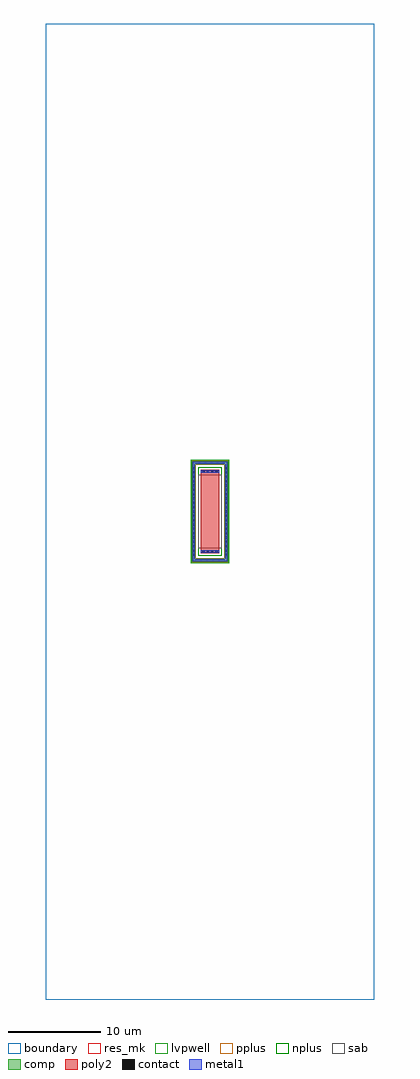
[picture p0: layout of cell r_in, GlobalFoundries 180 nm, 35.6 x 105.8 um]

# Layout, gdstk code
import gdstk
lib = gdstk.Library(unit=1e-6, precision=1e-09)
def R(c, l, rs):  # rectangles x0, y0, x1, y1
    for r in rs: c.add(gdstk.rectangle(r[:2], r[2:], *l))
def A(c, l, x, y, w, h, nx, ny, dx, dy):  # array of equal rectangles
    R(c, l, [(x+i*dx, y+j*dy, x+i*dx+w, y+j*dy+h) for i in range(nx) for j in range(ny)])
boundary = (0, 0)
comp = (22, 0)
poly2 = (30, 0)
pplus = (31, 0)
nplus = (32, 0)
contact = (33, 0)
metal1 = (34, 0)
sab = (49, 0)
res_mk = (110, 5)
lvpwell = (204, 0)

r_in = lib.new_cell('r_in')
R(r_in, boundary, [(-17.8,-52.9,17.8,52.9)])
R(r_in, comp, [(-1.96,-5.47,1.96,-5.11), (-1.96,-5.11,-1.6,5.11), (1.6,-5.11,1.96,5.11), (-1.96,5.11,1.96,5.47)])
R(r_in, poly2, [(-1,-4.51,1,4.51)])
R(r_in, pplus, [(-1.98,-5.49,1.98,-5.09), (-1.98,-5.09,-1.57,-4.985), (1.57,-5.09,1.98,-4.985), (-1.99,-4.985,-1.57,4.985), (1.57,-4.985,1.99,4.985), (-1.98,4.985,-1.57,5.09), (1.57,4.985,1.98,5.09), (-1.98,5.09,1.98,5.49)])
R(r_in, nplus, [(-1.3,-4.81,1.3,4.81)])
A(r_in, contact, -1.89, -4.81, 0.22, 0.22, 1, 21, 0, 0.47)
A(r_in, contact, 1.67, -4.81, 0.22, 0.22, 1, 21, 0, 0.47)
A(r_in, contact, -0.815, -4.44, 0.22, 0.22, 4, 2, 0.47, 8.66)
R(r_in, metal1, [(-1.895,-5.405,1.895,-5.175), (-1.895,-5.175,-1.665,5.175), (1.665,-5.175,1.895,5.175), (-0.99,-4.445,0.99,-4.215), (-0.99,4.215,0.99,4.445), (-1.895,5.175,1.895,5.405)])
R(r_in, sab, [(-1.28,-4,1.28,4)])
R(r_in, res_mk, [(-1,-4,1,4)])
R(r_in, lvpwell, [(-2.08,-5.59,2.08,5.59)])

lib.write_gds('r_in.gds')
